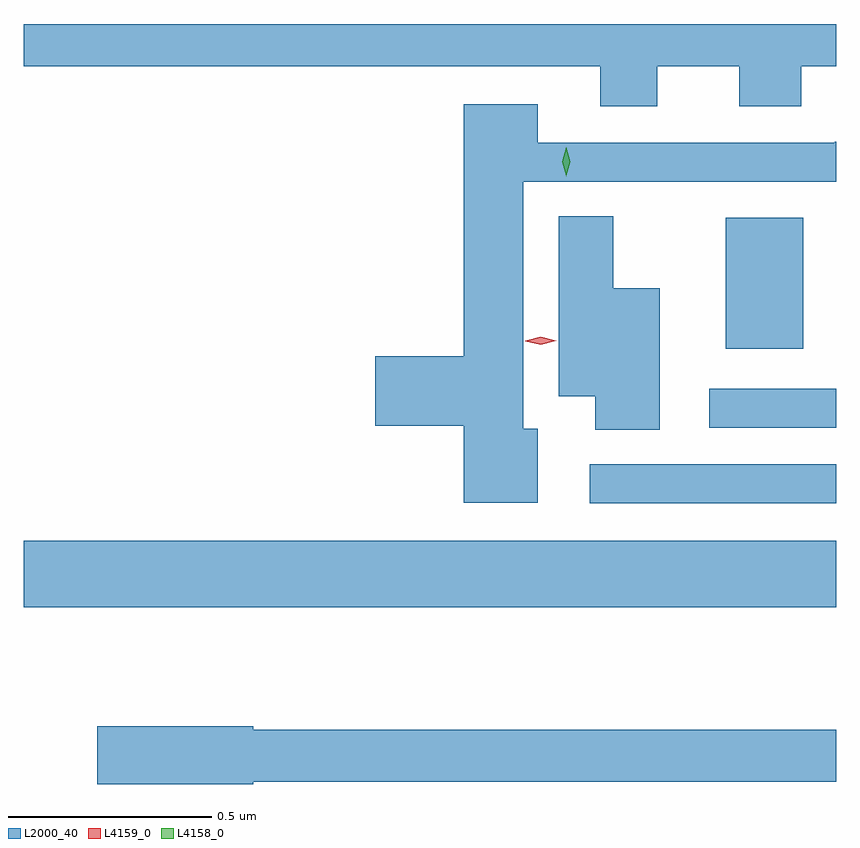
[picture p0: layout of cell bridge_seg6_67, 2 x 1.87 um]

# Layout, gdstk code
import gdstk
lib = gdstk.Library(unit=1e-6, precision=1e-09)
def R(c, l, rs):  # rectangles x0, y0, x1, y1
    for r in rs: c.add(gdstk.rectangle(r[:2], r[2:], *l))
def P(c, l, *ps):  # polygons
    for p in ps: c.add(gdstk.Polygon(p, *l))
L2000_40 = (2000, 40)
L4158_0 = (4158, 0)
L4159_0 = (4159, 0)

bridge_seg6_67 = lib.new_cell('bridge_seg6_67')
R(bridge_seg6_67, L2000_40, [(652.667,920.696,654.667,920.86), (654.06,920.952,654.667,921.048), (654.354,921.138,654.667,921.234), (654.395,921.332,654.586,921.655)])
P(bridge_seg6_67, L2000_40, [(654.226,922.028),(654.428,922.028),(654.428,921.929),(654.581,921.929),(654.581,922.028),(654.667,922.028),(654.667,922.132),(652.667,922.132),(652.667,922.028),(654.086,922.028),(654.086,921.929),(654.226,921.929)],
  [(653.932,921.136),(653.896,921.136),(653.896,921.744),(654.667,921.744),(654.667,921.842),(654.664,921.842),(654.664,921.84),(653.932,921.84),(653.932,921.934),(653.75,921.934),(653.75,921.314),(653.532,921.314),(653.532,921.143),(653.75,921.143),(653.75,920.954),(653.932,920.954)],
  [(654.232,921.481),(654.118,921.481),(654.118,921.659),(653.984,921.659),(653.984,921.215),(654.074,921.215),(654.074,921.133),(654.232,921.133)],
  [(653.232,920.266),(654.667,920.266),(654.667,920.395),(653.232,920.395),(653.232,920.403),(652.848,920.403),(652.848,920.261),(653.232,920.261)])
P(bridge_seg6_67, L4158_0, [(654.002,921.757),(654.002,921.758),(653.992,921.793),(654.003,921.829),(654.003,921.829),(654.003,921.829),(654.012,921.793),(654.002,921.758)])
P(bridge_seg6_67, L4159_0, [(653.94,921.342),(653.902,921.351),(653.901,921.351),(653.902,921.352),(653.94,921.362),(653.978,921.352),(653.978,921.352),(653.978,921.352)])

lib.write_gds('bridge_seg6_67.gds')
